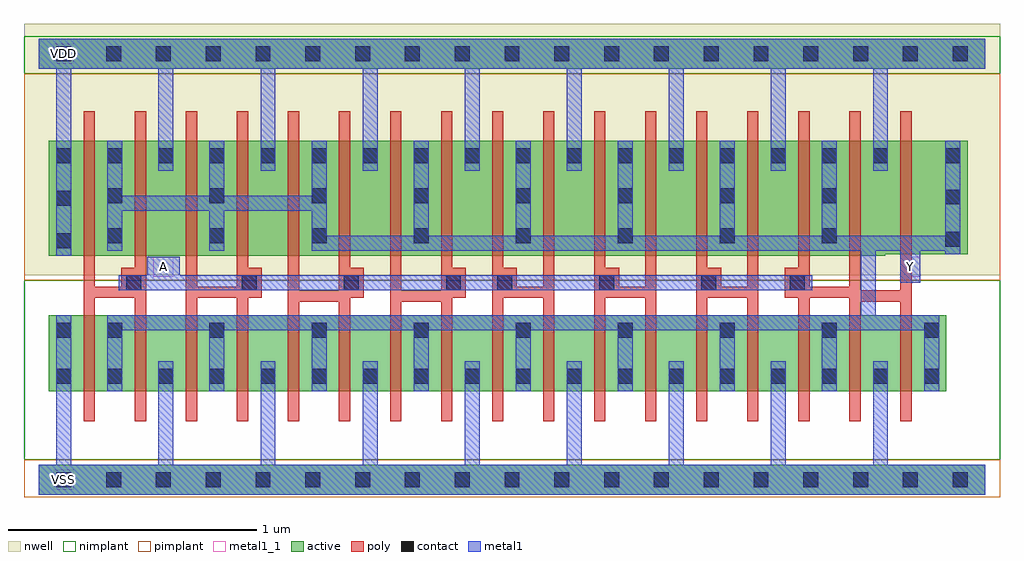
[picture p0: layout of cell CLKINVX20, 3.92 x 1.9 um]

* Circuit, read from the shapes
.subckt CLKINVX20 A VDD VSS Y
M1 Y A VSS VSS nfet w=0.305u l=0.045u m=17
M2 Y A VDD VDD pfet w=0.46u l=0.045u m=16
M3 Y A VDD VDD pfet w=0.455u l=0.045u
.ends

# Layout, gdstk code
import gdstk
lib = gdstk.Library(unit=1e-6, precision=5e-10)
def R(c, l, rs):  # rectangles x0, y0, x1, y1
    for r in rs: c.add(gdstk.rectangle(r[:2], r[2:], *l))
def A(c, l, x, y, w, h, nx, ny, dx, dy):  # array of equal rectangles
    R(c, l, [(x+i*dx, y+j*dy, x+i*dx+w, y+j*dy+h) for i in range(nx) for j in range(ny)])
def P(c, l, *ps):  # polygons
    for p in ps: c.add(gdstk.Polygon(p, *l))
active = (1, 0)
nwell = (2, 0)
poly = (3, 0)
nimplant = (4, 0)
pimplant = (5, 0)
contact = (6, 0)
metal1 = (7, 0)
metal1_1 = (7, 1)

clkinvx20 = lib.new_cell('CLKINVX20')
R(clkinvx20, active, [(0,-0.06,3.8,0.06), (0.04,0.355,3.645,0.66), (0,1.65,3.8,1.77)])
P(clkinvx20, active, [(0.04,1.36),(3.73,1.36),(3.73,0.905),(3.4,0.905),(3.4,0.9),(0.04,0.9)])
R(clkinvx20, nwell, [(-0.06,0.82,3.86,1.83)])
P(clkinvx20, poly, [(0.18,1.48),(0.225,1.48),(0.225,0.775),(0.33,0.775),(0.33,0.85),(0.385,0.85),(0.385,1.48),(0.43,1.48),(0.43,0.235),(0.385,0.235),(0.385,0.73),(0.225,0.73),(0.225,0.235),(0.18,0.235)],
  [(0.59,1.48),(0.635,1.48),(0.635,0.775),(0.795,0.775),(0.795,1.48),(0.84,1.48),(0.84,0.85),(0.895,0.85),(0.895,0.73),(0.84,0.73),(0.84,0.235),(0.795,0.235),(0.795,0.73),(0.635,0.73),(0.635,0.235),(0.59,0.235)],
  [(1,1.48),(1.045,1.48),(1.045,0.76),(1.205,0.76),(1.205,1.48),(1.25,1.48),(1.25,0.85),(1.305,0.85),(1.305,0.73),(1.25,0.73),(1.25,0.235),(1.205,0.235),(1.205,0.715),(1.045,0.715),(1.045,0.235),(1,0.235)],
  [(1.41,1.48),(1.455,1.48),(1.455,0.76),(1.615,0.76),(1.615,1.48),(1.66,1.48),(1.66,0.85),(1.715,0.85),(1.715,0.73),(1.66,0.73),(1.66,0.235),(1.615,0.235),(1.615,0.715),(1.455,0.715),(1.455,0.235),(1.41,0.235)],
  [(1.82,1.48),(1.865,1.48),(1.865,0.85),(1.92,0.85),(1.92,0.775),(2.025,0.775),(2.025,1.48),(2.07,1.48),(2.07,0.235),(2.025,0.235),(2.025,0.73),(1.865,0.73),(1.865,0.235),(1.82,0.235)],
  [(2.23,1.48),(2.275,1.48),(2.275,0.85),(2.33,0.85),(2.33,0.775),(2.435,0.775),(2.435,1.48),(2.48,1.48),(2.48,0.235),(2.435,0.235),(2.435,0.73),(2.275,0.73),(2.275,0.235),(2.23,0.235)],
  [(2.64,1.48),(2.685,1.48),(2.685,0.85),(2.74,0.85),(2.74,0.775),(2.845,0.775),(2.845,1.48),(2.89,1.48),(2.89,0.235),(2.845,0.235),(2.845,0.73),(2.685,0.73),(2.685,0.235),(2.64,0.235)],
  [(3.05,1.48),(3.095,1.48),(3.095,0.775),(3.255,0.775),(3.255,1.48),(3.3,1.48),(3.3,0.76),(3.46,0.76),(3.46,1.48),(3.505,1.48),(3.505,0.235),(3.46,0.235),(3.46,0.715),(3.3,0.715),(3.3,0.235),(3.255,0.235),(3.255,0.73),(3.095,0.73),(3.095,0.235),(3.05,0.235),(3.05,0.73),(2.995,0.73),(2.995,0.85),(3.05,0.85)])
R(clkinvx20, nimplant, [(-0.06,0.08,3.86,0.8), (-0.06,1.63,3.86,1.78)])
R(clkinvx20, pimplant, [(-0.06,-0.07,3.86,0.08), (-0.06,0.8,3.86,1.63)])
A(clkinvx20, contact, 0.07, -0.03, 0.06, 0.06, 19, 2, 0.2, 1.71)
A(clkinvx20, contact, 0.07, 0.385, 0.06, 0.06, 18, 1, 0.205, 0)
A(clkinvx20, contact, 0.275, 0.57, 0.06, 0.06, 9, 1, 0.41, 0)
A(clkinvx20, contact, 0.815, 0.76, 0.06, 0.06, 3, 1, 0.41, 0)
A(clkinvx20, contact, 1.84, 0.76, 0.06, 0.06, 3, 1, 0.41, 0)
A(clkinvx20, contact, 0.275, 0.95, 0.06, 0.06, 8, 2, 0.41, 0.16)
A(clkinvx20, contact, 0.07, 1.27, 0.06, 0.06, 17, 1, 0.205, 0)
R(clkinvx20, contact, [(0.07,0.57,0.13,0.63), (0.35,0.76,0.41,0.82), (3.015,0.76,3.075,0.82), (0.07,0.93,0.13,0.99), (3.64,0.935,3.7,0.995), (0.07,1.1,0.13,1.16), (3.64,1.105,3.7,1.165), (3.64,1.27,3.7,1.33)])
P(clkinvx20, metal1, [(0.07,0.66),(0.13,0.66),(0.13,0.06),(0.48,0.06),(0.48,0.475),(0.54,0.475),(0.54,0.06),(0.89,0.06),(0.89,0.475),(0.95,0.475),(0.95,0.06),(1.3,0.06),(1.3,0.475),(1.36,0.475),(1.36,0.06),(1.71,0.06),(1.71,0.475),(1.77,0.475),(1.77,0.06),(2.12,0.06),(2.12,0.475),(2.18,0.475),(2.18,0.06),(2.53,0.06),(2.53,0.475),(2.59,0.475),(2.59,0.06),(2.94,0.06),(2.94,0.475),(3,0.475),(3,0.06),(3.35,0.06),(3.35,0.475),(3.41,0.475),(3.41,0.06),(3.8,0.06),(3.8,-0.06),(0,-0.06),(0,0.06),(0.07,0.06)],
  [(0,1.77),(3.8,1.77),(3.8,1.65),(3.41,1.65),(3.41,1.24),(3.35,1.24),(3.35,1.65),(3,1.65),(3,1.24),(2.94,1.24),(2.94,1.65),(2.59,1.65),(2.59,1.24),(2.53,1.24),(2.53,1.65),(2.18,1.65),(2.18,1.24),(2.12,1.24),(2.12,1.65),(1.77,1.65),(1.77,1.24),(1.71,1.24),(1.71,1.65),(1.36,1.65),(1.36,1.24),(1.3,1.24),(1.3,1.65),(0.95,1.65),(0.95,1.24),(0.89,1.24),(0.89,1.65),(0.54,1.65),(0.54,1.24),(0.48,1.24),(0.48,1.65),(0.13,1.65),(0.13,0.9),(0.07,0.9),(0.07,1.65),(0,1.65)],
  [(0.275,1.36),(0.335,1.36),(0.335,1.14),(0.685,1.14),(0.685,1.36),(0.745,1.36),(0.745,1.14),(1.095,1.14),(1.095,1.36),(1.155,1.36),(1.155,0.98),(1.505,0.98),(1.505,1.36),(1.565,1.36),(1.565,0.98),(1.915,0.98),(1.915,1.36),(1.975,1.36),(1.975,0.98),(2.325,0.98),(2.325,1.36),(2.385,1.36),(2.385,0.98),(2.735,0.98),(2.735,1.36),(2.795,1.36),(2.795,0.98),(3.145,0.98),(3.145,1.36),(3.205,1.36),(3.205,0.98),(3.64,0.98),(3.64,1.36),(3.7,1.36),(3.7,0.905),(3.64,0.905),(3.64,0.92),(3.54,0.92),(3.54,0.79),(3.46,0.79),(3.46,0.92),(3.36,0.92),(3.36,0.66),(3.615,0.66),(3.615,0.355),(3.555,0.355),(3.555,0.6),(3.205,0.6),(3.205,0.355),(3.145,0.355),(3.145,0.6),(2.795,0.6),(2.795,0.355),(2.735,0.355),(2.735,0.6),(2.385,0.6),(2.385,0.355),(2.325,0.355),(2.325,0.6),(1.975,0.6),(1.975,0.355),(1.915,0.355),(1.915,0.6),(1.565,0.6),(1.565,0.355),(1.505,0.355),(1.505,0.6),(1.155,0.6),(1.155,0.355),(1.095,0.355),(1.095,0.6),(0.745,0.6),(0.745,0.355),(0.685,0.355),(0.685,0.6),(0.335,0.6),(0.335,0.355),(0.275,0.355),(0.275,0.66),(3.3,0.66),(3.3,0.92),(1.095,0.92),(1.095,1.08),(0.745,1.08),(0.745,0.92),(0.685,0.92),(0.685,1.08),(0.335,1.08),(0.335,0.92),(0.275,0.92)],
  [(0.435,0.895),(0.565,0.895),(0.565,0.82),(3.105,0.82),(3.105,0.76),(0.32,0.76),(0.32,0.82),(0.435,0.82)])
R(clkinvx20, metal1_1, [(0.06,-0.04,0.14,0.04), (0.46,0.815,0.54,0.895), (3.46,0.815,3.54,0.895), (0.06,1.67,0.14,1.75)])
clkinvx20.add(gdstk.Label('Y', (3.5,0.855), layer=7, texttype=1))
clkinvx20.add(gdstk.Label('A', (0.5,0.855), layer=7, texttype=1))
clkinvx20.add(gdstk.Label('VDD', (0.1,1.71), layer=7, texttype=1))
clkinvx20.add(gdstk.Label('VSS', (0.1,0), layer=7, texttype=1))
clkinvx20.add(gdstk.Label('CLKINVX20', (0,0), layer=63, texttype=0))

lib.write_gds('CLKINVX20.gds')
